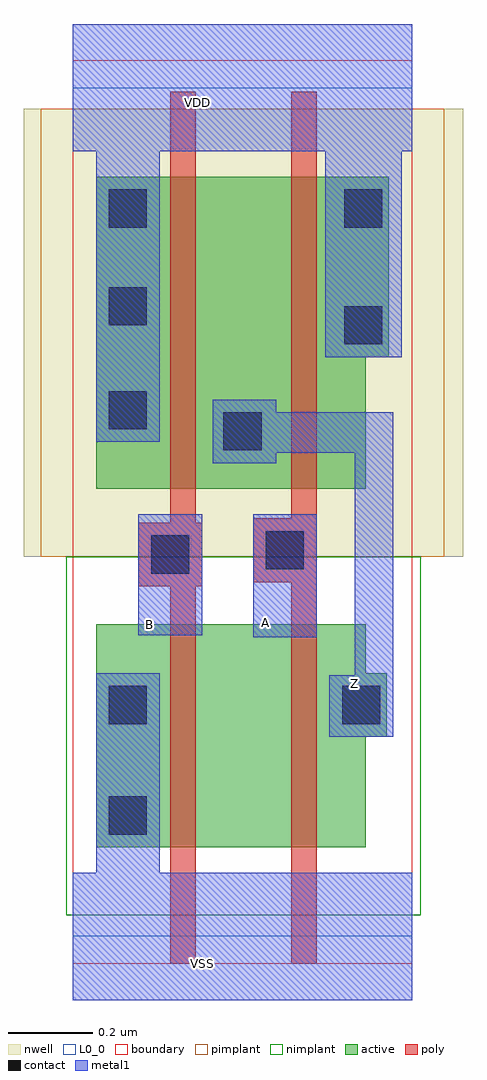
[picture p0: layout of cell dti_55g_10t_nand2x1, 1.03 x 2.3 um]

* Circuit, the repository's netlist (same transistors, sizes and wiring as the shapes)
*##########################################################################################
* Copyright (c) 2023 Dolphin Technology, Inc.
* This netlist is proprietary and confidential information of
* Dolphin Technology, Inc. and can only be used or viewed
* under license or with written permission from Dolphin Technology, Inc.
*##########################################################################################
* /data/projects/stdcells/scripts_svn_update_flow/Update_property_flow/lvsNetlist.pl -c dti_55g_10t_nand2x1 -p /data/projects/stdcells/scripts_svn_update_flow/Update_property_flow/params/params55.sp -s netlist -d lvs -nglob
* dt35-linux:/data/projects/stdcells/REPOSITORY_RV003/ckt/tsmc55 
* dti_55g_10t_nand2x1.ckt generated on 6/5/2023 at 9:43:52
*##########################################################################################
* Dependencies
*##########################################################################################

.param wnd=1u wpd=1u

.option scale=1

.global vdd vss vddps vddcs
* DAMN, don't know where the cell is 
.subckt dti_55g_10t_nand2x1 VDD VSS B A Z
mp1 Z A VDD VDD pch l=0.06u w=0.735u
mp2 Z B VDD VDD pch l=0.06u w=0.735u
mn2 N1N43 B VSS VSS nch l=0.06u w=0.525u
mn1 Z A N1N43 VSS nch l=0.06u w=0.525u
.ends

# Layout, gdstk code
from math import pi, radians
import gdstk
lib = gdstk.Library(unit=1e-6, precision=1e-09)
def R(c, l, rs):  # rectangles x0, y0, x1, y1
    for r in rs: c.add(gdstk.rectangle(r[:2], r[2:], *l))
L0_0 = (0, 0)
nwell = (3, 0)
active = (6, 0)
poly = (17, 0)
pimplant = (25, 0)
nimplant = (26, 0)
contact = (30, 0)
metal1 = (31, 0)
boundary = (108, 0)
L923_0 = (923, 0)

template_55g_10t = lib.new_cell('template_55g_10t')
R(template_55g_10t, metal1, [(0,-0.15,0.2,0.15), (0,1.85,0.2,2.15)])
template_55g_10t.add(gdstk.FlexPath([(0.2,0.21),(0,0.21)], 0, ends="flush", simple_path=True, layer=923, datatype=0))  # L923_0
template_55g_10t.add(gdstk.FlexPath([(0.2,0.735),(0,0.735)], 0, ends="flush", simple_path=True, layer=923, datatype=0))  # L923_0
template_55g_10t.add(gdstk.FlexPath([(0.2,0.895),(0,0.895)], 0, ends="flush", simple_path=True, layer=923, datatype=0))  # L923_0
template_55g_10t.add(gdstk.FlexPath([(0.2,1.055),(0,1.055)], 0, ends="flush", simple_path=True, layer=923, datatype=0))  # L923_0
template_55g_10t.add(gdstk.FlexPath([(0.2,1.79),(0,1.79)], 0, ends="flush", simple_path=True, layer=923, datatype=0))  # L923_0

cellgrid_nom2 = lib.new_cell('cellgrid_noM2')
R(cellgrid_nom2, L0_0, [(0,0,0.2,0.2)])
cellgrid_nom2.add(gdstk.FlexPath([(0.2,0),(0,0.2)], 0, ends="flush", simple_path=True, layer=0, datatype=0))  # L0_0
cellgrid_nom2.add(gdstk.FlexPath([(0.2,0.2),(0,0)], 0, ends="flush", simple_path=True, layer=0, datatype=0))  # L0_0

pmos_735_n_2 = lib.new_cell('pmos_735_n_2')
R(pmos_735_n_2, nwell, [(-0.275,-0.16,0.335,0.895)])
R(pmos_735_n_2, active, [(-0.115,0,0.175,0.735)])
R(pmos_735_n_2, poly, [(0,-0.14,0.06,0.875)])
R(pmos_735_n_2, pimplant, [(-0.245,-0.16,0.305,0.895)])

nmos_525_n_2 = lib.new_cell('nmos_525_n_2')
R(nmos_525_n_2, active, [(-0.115,0,0.175,0.525)])
R(nmos_525_n_2, poly, [(0,-0.14,0.06,0.665)])
R(nmos_525_n_2, nimplant, [(-0.245,-0.16,0.305,0.685)])

cnt_n = lib.new_cell('cnt_n')
R(cnt_n, active, [(-0.06,-0.075,0.06,0.075)])
R(cnt_n, contact, [(-0.045,-0.045,0.045,0.045)])
R(cnt_n, metal1, [(-0.045,-0.045,0.045,0.045)])

cnt = lib.new_cell('cnt')
R(cnt, contact, [(-0.045,-0.045,0.045,0.045)])
R(cnt, metal1, [(-0.045,-0.045,0.045,0.045)])

pcnt = lib.new_cell('pcnt')
R(pcnt, L0_0, [(-0.065,-0.065,0.065,0.065)])
R(pcnt, poly, [(-0.075,-0.075,0.075,0.075)])
pcnt.add(gdstk.Reference(cnt, (0,0)))

dti_55g_10t_nand2x1 = lib.new_cell('dti_55g_10t_nand2x1')
R(dti_55g_10t_nand2x1, nwell, [(-0.115,0.895,0.92,1.95)])
R(dti_55g_10t_nand2x1, active, [(0.055,0.21,0.115,0.735), (0.055,1.055,0.12,1.79), (0.69,1.365,0.745,1.79)])
R(dti_55g_10t_nand2x1, poly, [(0.23,-0.065,0.29,0.07), (0.515,-0.065,0.575,0.07), (0.23,0.875,0.29,0.915), (0.515,0.875,0.575,0.915), (0.23,1.93,0.29,1.99), (0.515,1.93,0.575,1.99)])
R(dti_55g_10t_nand2x1, pimplant, [(-0.075,0.895,0.875,1.95)])
R(dti_55g_10t_nand2x1, metal1, [(0.055,0.15,0.205,0.62), (0.605,0.47,0.7,0.615), (0.665,0.47,0.755,1.235), (0.425,0.705,0.575,0.995), (0.155,0.71,0.305,0.995), (0.33,1.115,0.48,1.265), (0.415,1.14,0.725,1.235), (0.055,1.165,0.205,1.85), (0.595,1.365,0.775,1.85)])
R(dti_55g_10t_nand2x1, boundary, [(0,-0.065,0.8,2.065)])
r = gdstk.Reference(template_55g_10t, (0,0)); r.repetition = gdstk.Repetition(4, 1, v1=(0.2,0), v2=(0,0)); dti_55g_10t_nand2x1.add(r)
r = gdstk.Reference(cellgrid_nom2, (0,0)); r.repetition = gdstk.Repetition(4, 10, v1=(0.2,0), v2=(0,0.2)); dti_55g_10t_nand2x1.add(r)
dti_55g_10t_nand2x1.add(gdstk.Reference(pmos_735_n_2, (0.23,1.055)))
dti_55g_10t_nand2x1.add(gdstk.Reference(pmos_735_n_2, (0.515,1.055)))
dti_55g_10t_nand2x1.add(gdstk.Reference(nmos_525_n_2, (0.23,0.21)))
dti_55g_10t_nand2x1.add(gdstk.Reference(nmos_525_n_2, (0.515,0.21)))
dti_55g_10t_nand2x1.add(gdstk.Reference(cnt_n, (0.13,1.715), rotation=pi/2))
dti_55g_10t_nand2x1.add(gdstk.Reference(cnt_n, (0.13,1.485), rotation=pi/2))
dti_55g_10t_nand2x1.add(gdstk.Reference(cnt_n, (0.13,1.24), rotation=pi/2))
dti_55g_10t_nand2x1.add(gdstk.Reference(cnt_n, (0.13,0.285), rotation=pi))
dti_55g_10t_nand2x1.add(gdstk.Reference(cnt_n, (0.13,0.545), rotation=pi))
dti_55g_10t_nand2x1.add(gdstk.Reference(pcnt, (0.23,0.9)))
dti_55g_10t_nand2x1.add(gdstk.Reference(cnt_n, (0.685,1.715)))
dti_55g_10t_nand2x1.add(gdstk.Reference(cnt_n, (0.685,1.44)))
dti_55g_10t_nand2x1.add(gdstk.Reference(cnt_n, (0.4,1.19), rotation=pi))
dti_55g_10t_nand2x1.add(gdstk.Reference(cnt_n, (0.68,0.545)))
dti_55g_10t_nand2x1.add(gdstk.Reference(pcnt, (0.5,0.91)))
dti_55g_10t_nand2x1.add(gdstk.Label('A', (0.455,0.74), layer=131, texttype=0))
dti_55g_10t_nand2x1.add(gdstk.Label('B', (0.18,0.735), layer=131, texttype=0))
dti_55g_10t_nand2x1.add(gdstk.Label('Z', (0.665,0.595), layer=131, texttype=0))
dti_55g_10t_nand2x1.add(gdstk.Label('VDD', (0.295,1.965), layer=131, texttype=0))
dti_55g_10t_nand2x1.add(gdstk.Label('VSS', (0.305,-0.065), layer=131, texttype=0))

lib.write_gds('dti_55g_10t_nand2x1.gds')
